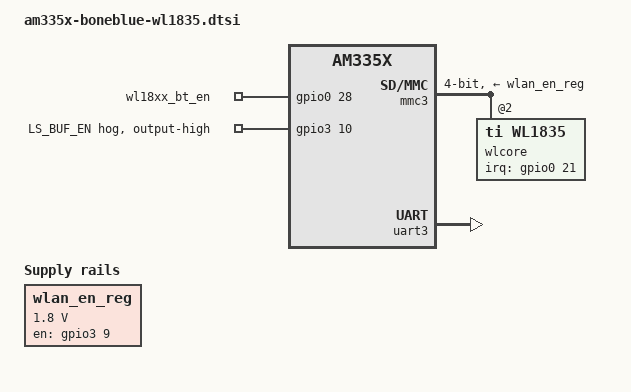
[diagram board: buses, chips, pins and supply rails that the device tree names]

#include <dt-bindings/interrupt-controller/irq.h>

/ {
	wlan_en_reg: fixedregulator@2 {
		compatible = "regulator-fixed";
		regulator-name = "wlan-en-regulator";
		regulator-min-microvolt = <1800000>;
		regulator-max-microvolt = <1800000>;
		startup-delay-us= <70000>;

		/* WL_EN */
		gpio = <&gpio3 9 0>;
		enable-active-high;
	};

	leds {
		pinctrl-names = "default";
		pinctrl-0 = <&wl18xx_pins>;
		compatible = "gpio-leds";

		wl18xx_bt_en {
			label = "wl18xx_bt_en";
			gpios = <&gpio0 28 GPIO_ACTIVE_HIGH>;
			default-state = "off";
		};
	};

	btwilink {
		compatible = "btwilink";
	};
};

&am33xx_pinmux {
	wl18xx_pins: pinmux_wl18xx_pins {
		pinctrl-single,pins = <
			0x128 (PIN_OUTPUT_PULLUP | MUX_MODE7)	/* (K17) gmii1_txd0.gpio0[28] - BT_EN */
		>;
	};

	wlbtbuf_pin: pinmux_wlbtbuf_pin {
		pinctrl-single,pins = <
			0x130 ( PIN_OUTPUT_PULLUP | MUX_MODE7 ) /* (L18) gmii1_rxclk.gpio3[10] - LS_BUF_EN */
		>;
	};

	mmc3_pins: pinmux_mmc3_pins {
		pinctrl-single,pins = <
			0x13c ( PIN_INPUT_PULLUP | MUX_MODE6 ) /* (L15) gmii1_rxd1.mmc2_clk */
			0x114 ( PIN_INPUT_PULLUP | MUX_MODE6 ) /* (J16) gmii1_txen.mmc2_cmd */
			0x118 ( PIN_INPUT_PULLUP | MUX_MODE5 ) /* (J17) gmii1_rxdv.mmc2_dat0 */
			0x11c ( PIN_INPUT_PULLUP | MUX_MODE5 ) /* (J18) gmii1_txd3.mmc2_dat1 */
			0x120 ( PIN_INPUT_PULLUP | MUX_MODE5 ) /* (K15) gmii1_txd2.mmc2_dat2 */
			0x108 ( PIN_INPUT_PULLUP | MUX_MODE5 ) /* (H16) gmii1_col.mmc2_dat3 */
		>;
	};

	mmc3_pins_sleep: pinmux_mmc3_pins_sleep {
		pinctrl-single,pins = <
			0x13c ( PIN_INPUT_PULLDOWN | MUX_MODE6 ) /* (L15) gmii1_rxd1.mmc2_clk */
			0x114 ( PIN_INPUT_PULLDOWN | MUX_MODE6 ) /* (J16) gmii1_txen.mmc2_cmd */
			0x118 ( PIN_INPUT_PULLDOWN | MUX_MODE5 ) /* (J17) gmii1_rxdv.mmc2_dat0 */
			0x11c ( PIN_INPUT_PULLDOWN | MUX_MODE5 ) /* (J18) gmii1_txd3.mmc2_dat1 */
			0x120 ( PIN_INPUT_PULLDOWN | MUX_MODE5 ) /* (K15) gmii1_txd2.mmc2_dat2 */
			0x108 ( PIN_INPUT_PULLDOWN | MUX_MODE5 ) /* (H16) gmii1_col.mmc2_dat3 */
		>;
	};

	/* wl18xx card enable/irq GPIOs. */
	wlan_pins: pinmux_wlan_pins {
		pinctrl-single,pins = <
			0x12c (PIN_OUTPUT_PULLDOWN | MUX_MODE7 ) /* (K18) gmii1_txclk.gpio3[9] - WL_EN */
			0x124 (PIN_INPUT_PULLUP | MUX_MODE7 )    /* (K16) gmii1_txd1.gpio0[21] - WL_IRQ */
		>;
	};

	/* wl18xx card enable/irq GPIOs. */
	wlan_pins_sleep: pinmux_wlan_pins_sleep {
		pinctrl-single,pins = <
			0x12c (PIN_OUTPUT_PULLDOWN | MUX_MODE7 ) /* (K18) gmii1_txclk.gpio3[9] - WL_EN */
			0x124 (PIN_INPUT_PULLUP | MUX_MODE7 )    /* (K16) gmii1_txd1.gpio0[21] - WL_IRQ */
		>;
	};

	uart3_pins_default: pinmux_uart3_pins_default {
		pinctrl-single,pins = <
			0x134 ( PIN_INPUT_PULLUP | MUX_MODE1 ) 		/* (L17) gmii1_rxd3.uart3_rxd */
			0x138 ( PIN_OUTPUT_PULLDOWN | MUX_MODE1 )	/* (L16) gmii1_rxd2.uart3_txd */
			0x148 ( PIN_INPUT | MUX_MODE3 ) 		/* (M17) mdio_data.uart3_ctsn */
			0x14c ( PIN_OUTPUT_PULLDOWN | MUX_MODE3 ) 	/* (M18) mdio_clk.uart3_rtsn */
		>;
	};

	uart3_pins_sleep: pinmux_uart3_pins_sleep {
		pinctrl-single,pins = <
			0x134 (PIN_INPUT_PULLDOWN | MUX_MODE7)	/* (L17) gmii1_rxd3.uart3_rxd */
			0x138 (PIN_INPUT_PULLDOWN | MUX_MODE7)	/* (L16) gmii1_rxd2.uart3_txd */
			0x148 (PIN_INPUT_PULLDOWN | MUX_MODE7)	/* (M17) mdio_data.uart3_ctsn */
			0x14c (PIN_INPUT_PULLDOWN | MUX_MODE7)	/* (M18) mdio_clk.uart3_rtsn */
		>;
	};
};

&mmc3 {
	dmas = <&edma_xbar 12 0 1
		&edma_xbar 13 0 2>;
	dma-names = "tx", "rx";
	status = "okay";
	vmmc-supply = <&wlan_en_reg>;
	bus-width = <4>;
	pinctrl-names = "default", "sleep";
	pinctrl-0 = <&mmc3_pins &wlan_pins &wlbtbuf_pin>;
	pinctrl-1 = <&mmc3_pins_sleep &wlan_pins_sleep &wlbtbuf_pin>;
	ti,non-removable;
	ti,needs-special-hs-handling;
	cap-power-off-card;
	keep-power-in-suspend;

	#address-cells = <1>;
	#size-cells = <0>;
	wlcore: wlcore@0 {
		compatible = "ti,wl1835";
		reg = <2>;
		interrupt-parent = <&gpio0>;
		interrupts = <21 IRQ_TYPE_EDGE_RISING>;
	};
};

&uart3 {
	pinctrl-names = "default", "sleep";
	pinctrl-0 = <&uart3_pins_default>;
	pinctrl-1 = <&uart3_pins_sleep>;
	status = "okay";
};

&gpio3 {
	ls_buf_en {
		gpio-hog;
		gpios = <10 GPIO_ACTIVE_HIGH>;
		output-high;
		line-name = "LS_BUF_EN";
	};
};
